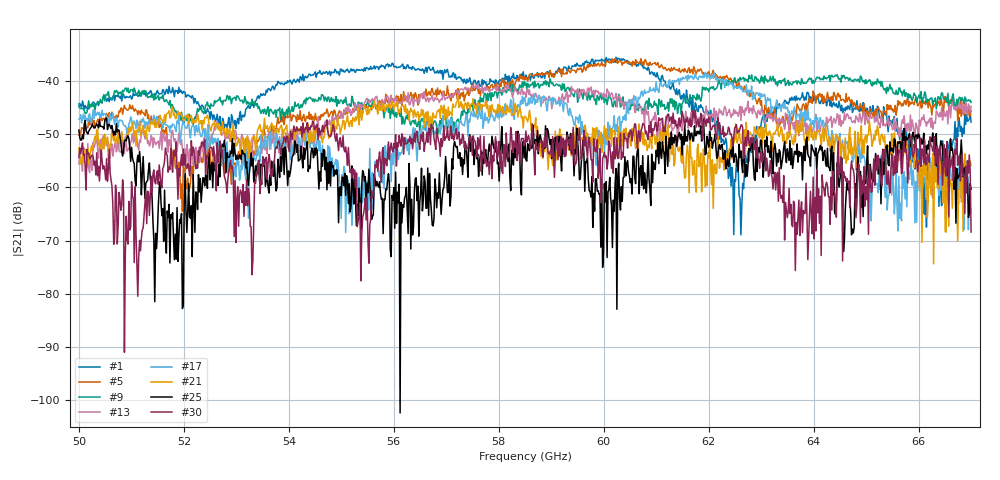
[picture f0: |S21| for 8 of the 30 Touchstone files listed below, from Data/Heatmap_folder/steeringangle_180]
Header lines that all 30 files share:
!Created with skrf (http://scikit-rf.org).
# GHz S RI R 50.0
!freq ReS11 ImS11 ReS21 ImS21 ReS12 ImS12 ReS22 ImS22
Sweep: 50 GHz to 67 GHz
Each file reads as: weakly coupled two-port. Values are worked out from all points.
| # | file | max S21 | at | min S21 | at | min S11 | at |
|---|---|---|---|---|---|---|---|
| 1 | az=-11_el=0.s2p | -35.53 dB | 60.23 GHz | -68.9 dB | 62.61 GHz | -35.7 dB | 59.59 GHz |
| 2 | az=-12_el=0.s2p | -36.23 dB | 56.99 GHz | -62.7 dB | 59.44 GHz | -35.3 dB | 59.59 GHz |
| 3 | az=-13_el=0.s2p | -36.65 dB | 61.81 GHz | -66.3 dB | 58.64 GHz | -36.0 dB | 59.59 GHz |
| 4 | az=-14_el=0.s2p | -36.50 dB | 63.99 GHz | -55.7 dB | 51.97 GHz | -36.9 dB | 59.59 GHz |
| 5 | az=-15_el=0.s2p | -35.82 dB | 60.71 GHz | -64.5 dB | 51.97 GHz | -37.0 dB | 62.16 GHz |
| 6 | az=-16_el=0.s2p | -37.82 dB | 56.95 GHz | -82.6 dB | 65.15 GHz | -36.9 dB | 62.16 GHz |
| 7 | az=-17_el=0.s2p | -40.15 dB | 54.54 GHz | -57.6 dB | 62.75 GHz | -36.0 dB | 62.16 GHz |
| 8 | az=-18_el=0.s2p | -40.16 dB | 50.75 GHz | -55.5 dB | 58.62 GHz | -36.4 dB | 58.23 GHz |
| 9 | az=-19_el=0.s2p | -38.82 dB | 64.45 GHz | -50.1 dB | 56.68 GHz | -37.6 dB | 58.23 GHz |
| 10 | az=-20_el=0.s2p | -38.00 dB | 58.57 GHz | -64.5 dB | 53.98 GHz | -36.3 dB | 58.23 GHz |
| 11 | az=-21_el=0.s2p | -37.46 dB | 58.92 GHz | -69.2 dB | 52.5 GHz | -38.6 dB | 58.23 GHz |
| 12 | az=-22_el=0.s2p | -38.93 dB | 57.99 GHz | -83.9 dB | 51.67 GHz | -36.7 dB | 62.16 GHz |
| 13 | az=-23_el=0.s2p | -40.53 dB | 57.6 GHz | -57.2 dB | 50.2 GHz | -38.6 dB | 62.16 GHz |
| 14 | az=-24_el=0.s2p | -40.57 dB | 62.92 GHz | -68.6 dB | 50.05 GHz | -37.9 dB | 62.16 GHz |
| 15 | az=-25_el=0.s2p | -40.09 dB | 63.28 GHz | -71.3 dB | 58.36 GHz | -38.3 dB | 58.23 GHz |
| 16 | az=-26_el=0.s2p | -39.10 dB | 61.87 GHz | -88.0 dB | 57.12 GHz | -38.4 dB | 58.23 GHz |
| 17 | az=-27_el=0.s2p | -38.36 dB | 62.1 GHz | -68.5 dB | 55.08 GHz | -40.0 dB | 58.23 GHz |
| 18 | az=-28_el=0.s2p | -39.88 dB | 61.68 GHz | -77.4 dB | 53.89 GHz | -38.1 dB | 62.16 GHz |
| 19 | az=-29_el=0.s2p | -40.26 dB | 58.55 GHz | -92.4 dB | 51.51 GHz | -40.0 dB | 62.16 GHz |
| 20 | az=-30_el=0.s2p | -40.89 dB | 57.41 GHz | -89.5 dB | 53.2 GHz | -36.9 dB | 58.23 GHz |
| 21 | az=-31_el=0.s2p | -42.81 dB | 57.23 GHz | -74.3 dB | 66.29 GHz | -41.2 dB | 62.16 GHz |
| 22 | az=-32_el=0.s2p | -45.27 dB | 51.77 GHz | -79.9 dB | 61.3 GHz | -39.5 dB | 62.16 GHz |
| 23 | az=-33_el=0.s2p | -46.60 dB | 52.65 GHz | -91.9 dB | 65.39 GHz | -39.0 dB | 58.23 GHz |
| 24 | az=-34_el=0.s2p | -48.59 dB | 50.19 GHz | -94.6 dB | 53.81 GHz | -38.7 dB | 62.16 GHz |
| 25 | az=-35_el=0.s2p | -46.96 dB | 50.53 GHz | -102.4 dB | 56.12 GHz | -37.9 dB | 62.16 GHz |
| 26 | az=-36_el=0.s2p | -46.75 dB | 53.76 GHz | -78.5 dB | 55.51 GHz | -40.2 dB | 62.16 GHz |
| 27 | az=-37_el=0.s2p | -46.92 dB | 66.23 GHz | -80.7 dB | 52.3 GHz | -38.8 dB | 62.16 GHz |
| 28 | az=-38_el=0.s2p | -45.66 dB | 54.06 GHz | -77.7 dB | 55.54 GHz | -37.1 dB | 59.59 GHz |
| 29 | az=-39_el=0.s2p | -45.77 dB | 61.95 GHz | -83.9 dB | 64.18 GHz | -38.1 dB | 58.23 GHz |
| 30 | az=-40_el=0.s2p | -45.45 dB | 61.75 GHz | -91.0 dB | 50.87 GHz | -44.8 dB | 59.59 GHz |
